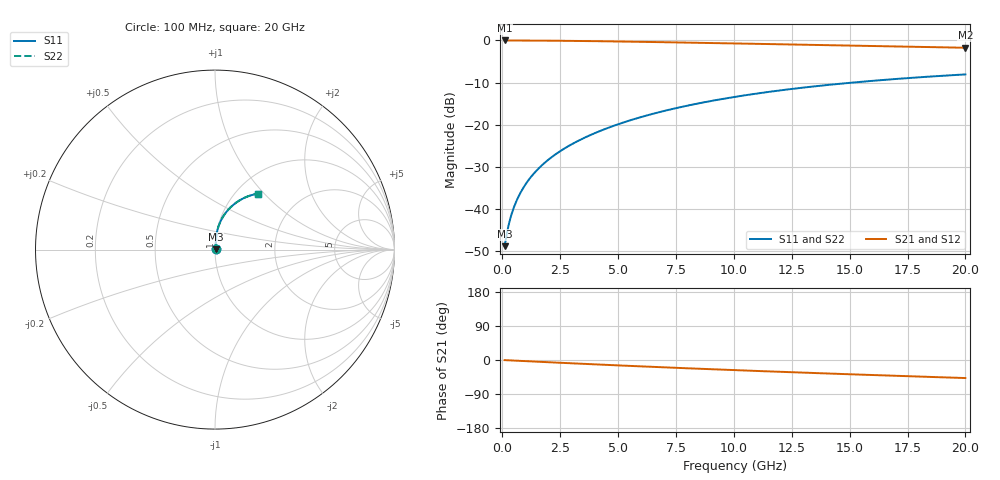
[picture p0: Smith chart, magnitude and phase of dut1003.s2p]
! Touchstone file exported from HFSS 2024.1.0
!  File:  C:/UserFiles/LocalFiles/RDL_TSV_Batchsim/temp_RDL_top_1003_1780042265.aedt
!  Generated:  04:14:51 PM May 29, 2026
!  Design:  RDL_top
!  Project:  temp_RDL_top_1003_1780042265
!  Setup:  Setup1
!  Solution:  Sweep
! Variables:
!  dtsv = 10.80580581um
!  hbump = 3um
!  htsv = 87.77um
!  ldown = 100um
!  lrdl = 675.18um
!  p = 40
!  p1 = 55.86um
!  rhole = 1um
!  t = 450um
!  tdown = 3.915915916um
!  trdl = 3.51um
!  wdown = 15.38538539um
!  wrdl = 25.24um
# GHz S MA R 50.000000
! Terminal data exported
! Port[1] = Box2_T1
! Port[2] = Box2_T2
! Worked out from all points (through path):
!   200 points, 100 MHz to 20 GHz, reference 50 ohm
!   highest |S21| = -0.03 dB at 100 MHz (marker M1); lowest = -1.8 dB at 20 GHz (marker M2)
!   group delay of S21, straight-line fit = 6.55 ps
!   lowest |S11| = -48.8 dB at 100 MHz (marker M3), VSWR 1.01, Z = 50.3 + j0.215 ohm
!   |S11| at or under -10 dB: start of sweep to 15.16 GHz
!   |S22| runs from -48.8 to -8.1 dB; largest |S21 - S12| = 7.3e-15
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0.1  0.003619 36.2  0.9971 -0.3  0.9971 -0.3  0.003619 36.2
! Gamma 0 0 0 0
! Port Impedance 50 0 50 0
0.2  0.005189 53.4  0.9969 -0.6  0.9969 -0.6  0.005189 53.4
0.3  0.006914 61.8  0.9966 -0.9  0.9966 -0.9  0.006914 61.8
0.4  0.008666 66.9  0.9964 -1.2  0.9964 -1.2  0.008666 66.9
0.5  0.01043 70.4  0.9962 -1.5  0.9962 -1.5  0.01043 70.4
0.6  0.01222 73.0  0.996 -1.8  0.996 -1.8  0.01222 73.0
0.8  0.01584 76.6  0.9956 -2.4  0.9956 -2.4  0.01584 76.6
1.1  0.02139 79.8  0.9948 -3.3  0.9948 -3.3  0.02139 79.8
1.3  0.02515 81.1  0.9942 -3.9  0.9942 -3.9  0.02515 81.1
1.6  0.03086 82.5  0.9931 -4.7  0.9931 -4.7  0.03086 82.5
2.1  0.04056 83.8  0.9909 -6.2  0.9909 -6.2  0.04056 83.8
2.7  0.05249 84.5  0.9876 -7.9  0.9876 -7.9  0.05249 84.5
3.5  0.06889 84.7  0.9822 -10.2  0.9822 -10.2  0.0689 84.7
4.2  0.08369 84.3  0.9767 -12.1  0.9767 -12.1  0.08369 84.3
5  0.101 83.5  0.9698 -14.2  0.9698 -14.2  0.101 83.5
6.8  0.1412 80.6  0.9526 -18.9  0.9526 -18.9  0.1412 80.6
8.4  0.1772 77.4  0.9362 -22.8  0.9362 -22.8  0.1772 77.4
10.1  0.2147 73.7  0.9185 -26.9  0.9185 -26.9  0.2148 73.7
11.7  0.2488 70.0  0.9016 -30.5  0.9016 -30.5  0.2488 70.1
13.4  0.2831 66.2  0.8838 -34.2  0.8838 -34.2  0.2831 66.2
16.7  0.3432 59.0  0.8497 -41.1  0.8497 -41.1  0.3433 59.0
20  0.3944 52.3  0.817 -47.6  0.817 -47.6  0.3945 52.3
